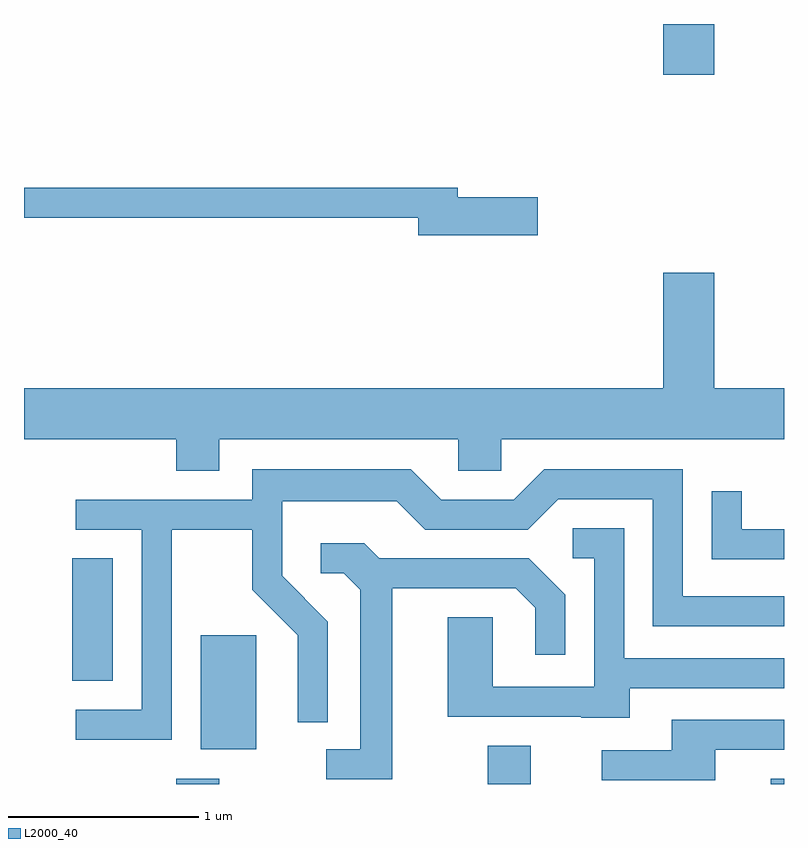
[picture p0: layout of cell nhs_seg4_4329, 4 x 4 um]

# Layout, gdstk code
import gdstk
lib = gdstk.Library(unit=1e-6, precision=1e-09)
def R(c, l, rs):  # rectangles x0, y0, x1, y1
    for r in rs: c.add(gdstk.rectangle(r[:2], r[2:], *l))
def P(c, l, *ps):  # polygons
    for p in ps: c.add(gdstk.Polygon(p, *l))
L2000_40 = (2000, 40)

nhs_seg4_4329 = lib.new_cell('nhs_seg4_4329')
R(nhs_seg4_4329, L2000_40, [(312.411,1343.982,312.639,1344.009), (314.051,1343.982,314.279,1344.184), (315.541,1343.982,315.611,1344.009), (312.541,1344.166,312.834,1344.764), (311.866,1344.526,312.079,1345.169), (314.976,1347.716,315.244,1347.982)])
P(nhs_seg4_4329, L2000_40, [(314.314,1347.069),(313.894,1347.069),(313.894,1347.119),(311.611,1347.119),(311.611,1346.961),(313.686,1346.961),(313.686,1346.871),(314.314,1346.871)],
  [(312.639,1345.796),(313.896,1345.796),(313.896,1345.631),(314.124,1345.631),(314.124,1345.796),(315.611,1345.796),(315.611,1346.064),(315.244,1346.064),(315.244,1346.674),(314.976,1346.674),(314.976,1346.064),(311.611,1346.064),(311.611,1345.796),(312.411,1345.796),(312.411,1345.631),(312.639,1345.631)],
  [(312.389,1345.321),(312.811,1345.321),(312.811,1345.004),(313.051,1344.764),(313.051,1344.308),(313.209,1344.308),(313.209,1344.837),(312.969,1345.077),(312.969,1345.471),(313.574,1345.471),(313.724,1345.321),(314.262,1345.321),(314.422,1345.481),(314.921,1345.481),(314.921,1344.811),(315.611,1344.811),(315.611,1344.969),(315.079,1344.969),(315.079,1345.639),(314.349,1345.639),(314.189,1345.479),(313.807,1345.479),(313.647,1345.639),(312.811,1345.639),(312.811,1345.479),(311.883,1345.479),(311.883,1345.321),(312.231,1345.321),(312.231,1344.374),(311.883,1344.374),(311.883,1344.216),(312.389,1344.216)],
  [(315.611,1345.324),(315.389,1345.324),(315.389,1345.523),(315.231,1345.523),(315.231,1345.166),(315.611,1345.166)],
  [(314.799,1344.486),(315.611,1344.486),(315.611,1344.644),(314.769,1344.644),(314.769,1345.329),(314.498,1345.329),(314.498,1345.171),(314.611,1345.171),(314.611,1344.494),(314.079,1344.494),(314.079,1344.859),(313.841,1344.859),(313.841,1344.336),(314.545,1344.336),(314.545,1344.331),(314.799,1344.331)],
  [(313.549,1345.011),(314.199,1345.011),(314.301,1344.909),(314.301,1344.663),(314.459,1344.663),(314.459,1344.977),(314.267,1345.169),(313.482,1345.169),(313.402,1345.249),(313.173,1345.249),(313.173,1345.091),(313.294,1345.091),(313.381,1345.004),(313.381,1344.164),(313.203,1344.164),(313.203,1344.006),(313.549,1344.006)],
  [(315.249,1344.161),(315.611,1344.161),(315.611,1344.319),(315.021,1344.319),(315.021,1344.159),(314.653,1344.159),(314.653,1344.001),(315.249,1344.001)])

lib.write_gds('nhs_seg4_4329.gds')
